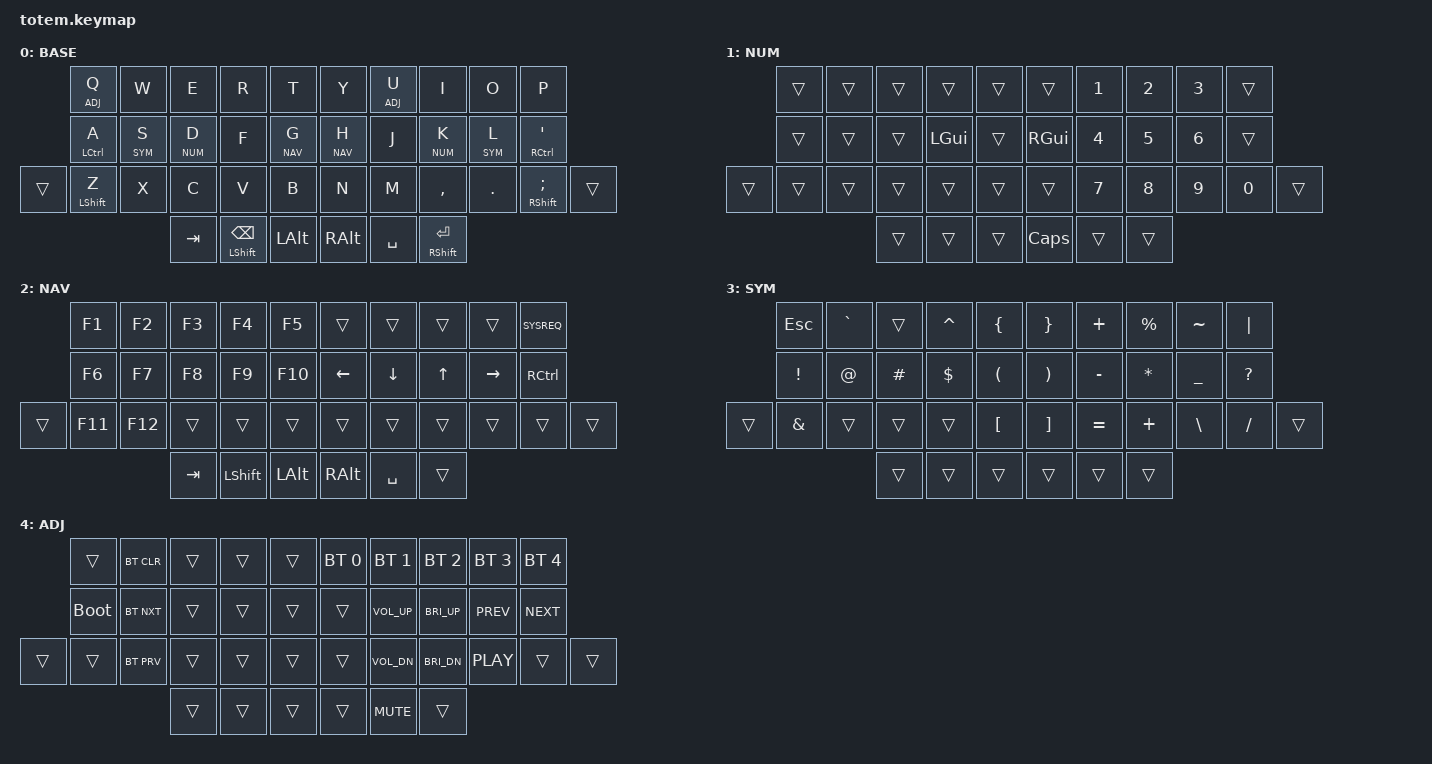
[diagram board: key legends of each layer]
//
//                                                        ▀▀▀▀▀     ▀▀▀▀▀          ▀▀█▀▀
//                                                        ▄▀▀▀▄  ▄  ▄▀▀▀▄  ▄  ▄▀▀▀▄  █  ▄▀▀▀▄
//                                                        █   █  █  █   █  █  █   █  █  █   █
//                                                         ▀▀▀   █   ▀▀▀   █   ▀▀▀   ▀   ▀▀▀
//                                                               █      ▄▄▄█▄▄▄    █   █
//                                                               ▀      █  █  █     █▄█
//                                                             ▀▀▀▀▀    █  █  █      ▀
//                                                                      ▀  ▀  ▀
//
// ▄▄▄▄▄▄▄▄▄▄▄▄▄▄▄▄▄▄▄▄▄▄▄▄▄▄▄▄▄▄▄▄▄▄▄▄▄▄▄▄▄▄▄▄▄▄▄▄▄▄▄▄▄▄▄▄▄▄▄▄▄▄▄▄▄▄▄▄▄▄▄▄▄▄▄▄▄▄▄▄▄▄▄▄▄▄▄▄▄▄▄▄▄▄▄▄▄▄▄▄▄▄▄▄▄▄▄▄▄▄▄▄▄▄▄▄▄▄▄▄▄▄▄▄▄▄▄▄▄▄▄▄▄▄▄▄▄▄▄▄▄▄▄▄▄▄▄▄▄

#include <behaviors.dtsi>
#include <dt-bindings/zmk/keys.h>
#include <dt-bindings/zmk/bt.h>
#include <dt-bindings/zmk/outputs.h>

#define BASE 0
#define NUM  1
#define NAV  2
#define SYM  3
#define ADJ  4

#define KEYS_L LT0 LT1 LT2 LT3 LT4 LM0 LM1 LM2 LM3 LM4 LB0 LB1 LB2 LB3 LB4 LB5 // left-hand keys
#define KEYS_R RT0 RT1 RT2 RT3 RT4 RM0 RM1 RM2 RM3 RM4 RB0 RB1 RB2 RB3 RB4 RB5 // right-hand keys
#define THUMBS LH2 LH1 LH0 RH0 RH1 RH2                                         // thumb keys

// &lt {
//   quick-tap-ms = <100>;
//   global-quick-tap;
//   flavor = "tap-preferred";
//   tapping-term-ms = <170>;
// };
// 
&mt {
  quick-tap-ms = <200>;
  global-quick-tap;
  flavor = "tap-preferred";
  tapping-term-ms = <170>;
};

/ {
    behaviors {
        lst: left_shift_tap {
            compatible = "zmk,behavior-hold-tap";
            #binding-cells = <2>;
            flavor = "hold-preferred";
            tapping-term-ms = <300>;
            quick-tap-ms = <250>;
            bindings = <&kp>, <&kp>;
            hold-trigger-key-positions = <5 6 7 8 9 15 16 17 18 19 26 27 28 29 30 35 36 37>;    // <---[[right-hand keys]]
            hold-trigger-on-release;
        };
        rst: right_shift_tap {
            compatible = "zmk,behavior-hold-tap";
            #binding-cells = <2>;
            flavor = "hold-preferred";
            tapping-term-ms = <300>;
            quick-tap-ms = <250>;
            bindings = <&kp>, <&kp>;
            hold-trigger-key-positions = <0 1 2 3 4 10 11 12 13 14 21 22 23 24 25 32 33 34>;    // <---[[left-hand keys]]
            hold-trigger-on-release;
        };
        lht: left_hold_tap {
            compatible = "zmk,behavior-hold-tap";
            #binding-cells = <2>;
            flavor = "balanced";
            tapping-term-ms = <300>;
            quick-tap-ms = <250>;
            require-prior-idle-ms = <125>;
            bindings = <&kp>, <&kp>;
            hold-trigger-key-positions = <5 6 7 8 9 15 16 17 18 19 26 27 28 29 30 35 36 37>;    // <---[[right-hand keys]]
            hold-trigger-on-release;
        };
        rht: right_hold_tap {
            compatible = "zmk,behavior-hold-tap";
            #binding-cells = <2>;
            flavor = "balanced";
            tapping-term-ms = <300>;
            quick-tap-ms = <250>;
            require-prior-idle-ms = <125>;
            bindings = <&kp>, <&kp>;
            hold-trigger-key-positions = <0 1 2 3 4 10 11 12 13 14 21 22 23 24 25 32 33 34>;    // <---[[left-hand keys]]
            hold-trigger-on-release;
        };
        llt: left_layer_tap {
            compatible = "zmk,behavior-hold-tap";
            #binding-cells = <2>;
            flavor = "balanced";
            tapping-term-ms = <300>;
            quick-tap-ms = <250>;
            require-prior-idle-ms = <125>;
            bindings = <&mo>, <&kp>;
            hold-trigger-key-positions = <5 6 7 8 9 15 16 17 18 19 26 27 28 29 30 35 36 37>;    // <---[[right-hand keys]]
            hold-trigger-on-release;
        };
        rlt: right_layer_tap {
            compatible = "zmk,behavior-hold-tap";
            #binding-cells = <2>;
            flavor = "balanced";
            tapping-term-ms = <300>;
            quick-tap-ms = <250>;
            require-prior-idle-ms = <125>;
            bindings = <&mo>, <&kp>;
            hold-trigger-key-positions = <0 1 2 3 4 10 11 12 13 14 21 22 23 24 25 32 33 34>;    // <---[[left-hand keys]]
        };
    };
    keymap {
        compatible = "zmk,keymap";
// ▄▄▄▄▄▄▄▄▄▄▄▄▄▄▄▄▄▄▄▄▄▄▄▄▄▄▄▄▄▄▄▄▄▄▄▄▄▄▄▄▄▄▄▄▄▄▄▄▄▄▄▄▄▄▄▄▄▄▄▄▄▄▄▄▄▄▄▄▄▄▄▄▄▄▄▄▄▄▄▄▄▄▄▄▄▄▄▄▄▄▄▄▄▄▄▄▄▄▄▄▄▄▄▄▄▄▄▄▄▄▄▄▄▄▄▄▄▄▄▄▄▄▄▄▄▄▄▄▄▄▄▄▄▄▄▄▄▄▄▄▄▄▄▄▄▄▄▄▄

                base_layer {
// ┏━━━━━━━━━━━━━━━━━━━━━━━━━━━━━━━━━━━━━━━┓
label= "BASE"                              ;
// ┗━━━━━━━━━━━━━━━━━━━━━━━━━━━━━━━━━━━━━━━┛
//             ┏━━━━━━━━━━━┳━━━━━━━━━━━┳━━━━━━━━━━━┳━━━━━━━━━━━┳━━━━━━━━━━━┓   ┏━━━━━━━━━━━┳━━━━━━━━━━━┳━━━━━━━━━━━┳━━━━━━━━━━━┳━━━━━━━━━━━┓
//             ┃0  Q (ADJ) ┃1     W    ┃2     E    ┃3    R     ┃4    T     ┃   ┃5     Y    ┃6  U (ADJ) ┃7     I    ┃8     O    ┃9     P    ┃
//             ┣━━━━━━━━━━━╋━━━━━━━━━━━╋━━━━━━━━━━━╋━━━━━━━━━━━╋━━━━━━━━━━━┫   ┣━━━━━━━━━━━╋━━━━━━━━━━━╋━━━━━━━━━━━╋━━━━━━━━━━━╋━━━━━━━━━━━┫
//             ┃10 A (CTRL)┃11 S (SYM) ┃12  D(NUM) ┃13    F    ┃14  G(NAV) ┃   ┃15  H(NAV) ┃16   J     ┃17 K (NUM) ┃18 L (SYM) ┃19 ' (CTRL)┃
// ┏━━━━━━━━━━━╋━━━━━━━━━━━╋━━━━━━━━━━━╋━━━━━━━━━━━╋━━━━━━━━━━━╋━━━━━━━━━━━┫   ┣━━━━━━━━━━━╋━━━━━━━━━━━╋━━━━━━━━━━━╋━━━━━━━━━━━╋━━━━━━━━━━━╋━━━━━━━━━━━┓
// ┃20         ┃21 Z(SHFT) ┃22    X    ┃23    C    ┃24    V    ┃25    B    ┃   ┃26    N    ┃27    M    ┃28    ,    ┃29    .    ┃30 ;(RSHFT)┃31         ┃
// ┗━━━━━━━━━━━┻━━━━━━━━━━━┻━━━━━━━━━━━╋━━━━━━━━━━━╋━━━━━━━━━━━╋━━━━━━━━━━━┫   ┣━━━━━━━━━━━╋━━━━━━━━━━━╋━━━━━━━━━━━╋━━━━━━━━━━━┻━━━━━━━━━━━┻━━━━━━━━━━━┛
//                                     ┃32   TAB   ┃33 BACKSHFT┃34  LALT   ┃   ┃35  RALT   ┃36  SPACE  ┃37 ENTERSH ┃
//                                     ┗━━━━━━━━━━━┻━━━━━━━━━━━┻━━━━━━━━━━━┛   ┗━━━━━━━━━━━┻━━━━━━━━━━━┻━━━━━━━━━━━┛
 bindings = <
// ╷           ╷           ╷           ╷           ╷           ╷           ╷   ╷           ╷           ╷           ╷           ╷           ╷           ╷

               &llt ADJ Q  &kp W       &kp E       &kp R       &kp T            &kp Y       &rlt ADJ U   &kp I       &kp O       &kp P
               &lht LCTRL A &llt SYM S &llt NUM D  &kp F       &llt NAV G       &rlt NAV H  &kp J        &rlt NUM K  &rlt SYM L  &rht RCTRL SQT
    &trans     &lht LSHFT Z &kp X       &kp C      &kp V       &kp B            &kp N       &kp M        &kp COMMA   &kp DOT    &rht RSHFT SEMI  &trans
                                       &kp TAB     &lst LSHFT BSPC &kp LALT     &kp RALT    &kp SPACE    &rst RSHFT RET
                        >;
                };

// ▄▄▄▄▄▄▄▄▄▄▄▄▄▄▄▄▄▄▄▄▄▄▄▄▄▄▄▄▄▄▄▄▄▄▄▄▄▄▄▄▄▄▄▄▄▄▄▄▄▄▄▄▄▄▄▄▄▄▄▄▄▄▄▄▄▄▄▄▄▄▄▄▄▄▄▄▄▄▄▄▄▄▄▄▄▄▄▄▄▄▄▄▄▄▄▄▄▄▄▄▄▄▄▄▄▄▄▄▄▄▄▄▄▄▄▄▄▄▄▄▄▄▄▄▄▄▄▄▄▄▄▄▄▄▄▄▄▄▄▄▄▄▄▄▄▄▄▄▄


                num_layer {
// ┏━━━━━━━━━━━━━━━━━━━━━━━━━━━━━━━━━━━━━━━┓
label= "NUM"                               ;
// ┗━━━━━━━━━━━━━━━━━━━━━━━━━━━━━━━━━━━━━━━┛
//             ┏━━━━━━━━━━━┳━━━━━━━━━━━┳━━━━━━━━━━━┳━━━━━━━━━━━┳━━━━━━━━━━━┓   ┏━━━━━━━━━━━┳━━━━━━━━━━━┳━━━━━━━━━━━┳━━━━━━━━━━━┳━━━━━━━━━━━┓
//             ┃           ┃           ┃           ┃           ┃           ┃   ┃           ┃     1     ┃     2     ┃     3     ┃           ┃
//             ┣━━━━━━━━━━━╋━━━━━━━━━━━╋━━━━━━━━━━━╋━━━━━━━━━━━╋━━━━━━━━━━━┫   ┣━━━━━━━━━━━╋━━━━━━━━━━━╋━━━━━━━━━━━╋━━━━━━━━━━━╋━━━━━━━━━━━┫
//             ┃           ┃           ┃           ┃    LGUI   ┃           ┃   ┃   RGUI    ┃     4     ┃     5     ┃     6     ┃           ┃
// ┏━━━━━━━━━━━╋━━━━━━━━━━━╋━━━━━━━━━━━╋━━━━━━━━━━━╋━━━━━━━━━━━╋━━━━━━━━━━━┫   ┣━━━━━━━━━━━╋━━━━━━━━━━━╋━━━━━━━━━━━╋━━━━━━━━━━━╋━━━━━━━━━━━╋━━━━━━━━━━━┓
// ┃           ┃           ┃           ┃           ┃           ┃           ┃   ┃           ┃     7     ┃     8     ┃     9     ┃     0     ┃           ┃
// ┗━━━━━━━━━━━┻━━━━━━━━━━━┻━━━━━━━━━━━╋━━━━━━━━━━━╋━━━━━━━━━━━╋━━━━━━━━━━━┫   ┣━━━━━━━━━━━╋━━━━━━━━━━━╋━━━━━━━━━━━╋━━━━━━━━━━━┻━━━━━━━━━━━┻━━━━━━━━━━━┛
//                                     ┃           ┃           ┃           ┃   ┃   CAPS    ┃           ┃           ┃
//                                     ┗━━━━━━━━━━━┻━━━━━━━━━━━┻━━━━━━━━━━━┛   ┗━━━━━━━━━━━┻━━━━━━━━━━━┻━━━━━━━━━━━┛
 bindings = <
// ╷           ╷           ╷           ╷           ╷           ╷           ╷   ╷           ╷           ╷           ╷           ╷           ╷           ╷

                &trans      &trans      &trans      &trans     &trans          &trans      &kp N1      &kp N2      &kp N3      &trans 
                &trans      &trans      &trans      &kp LGUI   &trans          &kp RGUI    &kp N4      &kp N5      &kp N6      &trans
    &trans      &trans      &trans      &trans      &trans     &trans          &trans      &kp N7      &kp N8      &kp N9      &kp N0         &trans
                                        &trans      &trans     &trans          &kp CAPS    &trans      &trans
                       >;
                };

// ▄▄▄▄▄▄▄▄▄▄▄▄▄▄▄▄▄▄▄▄▄▄▄▄▄▄▄▄▄▄▄▄▄▄▄▄▄▄▄▄▄▄▄▄▄▄▄▄▄▄▄▄▄▄▄▄▄▄▄▄▄▄▄▄▄▄▄▄▄▄▄▄▄▄▄▄▄▄▄▄▄▄▄▄▄▄▄▄▄▄▄▄▄▄▄▄▄▄▄▄▄▄▄▄▄▄▄▄▄▄▄▄▄▄▄▄▄▄▄▄▄▄▄▄▄▄▄▄▄▄▄▄▄▄▄▄▄▄▄▄▄▄▄▄▄▄▄▄▄


                nav_layer {
// ┏━━━━━━━━━━━━━━━━━━━━━━━━━━━━━━━━━━━━━━━┓
label= "NAV"                               ;
// ┗━━━━━━━━━━━━━━━━━━━━━━━━━━━━━━━━━━━━━━━┛
//             ┏━━━━━━━━━━━┳━━━━━━━━━━━┳━━━━━━━━━━━┳━━━━━━━━━━━┳━━━━━━━━━━━┓   ┏━━━━━━━━━━━┳━━━━━━━━━━━┳━━━━━━━━━━━┳━━━━━━━━━━━┳━━━━━━━━━━━┓
//             ┃     F1    ┃     F2    ┃     F3    ┃     F4    ┃     F5    ┃   ┃           ┃           ┃           ┃           ┃   SYSREQ  ┃
//             ┣━━━━━━━━━━━╋━━━━━━━━━━━╋━━━━━━━━━━━╋━━━━━━━━━━━╋━━━━━━━━━━━┫   ┣━━━━━━━━━━━╋━━━━━━━━━━━╋━━━━━━━━━━━╋━━━━━━━━━━━╋━━━━━━━━━━━┫
//             ┃     F6    ┃     F7    ┃     F8    ┃     F9    ┃     F10   ┃   ┃    LEFT   ┃    DOWN   ┃     UP    ┃   RIGHT   ┃    CTRL   ┃
// ┏━━━━━━━━━━━╋━━━━━━━━━━━╋━━━━━━━━━━━╋━━━━━━━━━━━╋━━━━━━━━━━━╋━━━━━━━━━━━┫   ┣━━━━━━━━━━━╋━━━━━━━━━━━╋━━━━━━━━━━━╋━━━━━━━━━━━╋━━━━━━━━━━━╋━━━━━━━━━━━┓
// ┃           ┃     F11   ┃     F12   ┃           ┃           ┃           ┃   ┃           ┃           ┃           ┃           ┃           ┃           ┃
// ┗━━━━━━━━━━━┻━━━━━━━━━━━┻━━━━━━━━━━━╋━━━━━━━━━━━╋━━━━━━━━━━━╋━━━━━━━━━━━┫   ┣━━━━━━━━━━━╋━━━━━━━━━━━╋━━━━━━━━━━━╋━━━━━━━━━━━┻━━━━━━━━━━━┻━━━━━━━━━━━┛
//                                     ┃    TAB    ┃    SHFT   ┃    ALT    ┃   ┃    ALT    ┃   SPACE   ┃           ┃
//                                     ┗━━━━━━━━━━━┻━━━━━━━━━━━┻━━━━━━━━━━━┛   ┗━━━━━━━━━━━┻━━━━━━━━━━━┻━━━━━━━━━━━┛
 bindings = <
// ╷           ╷           ╷           ╷           ╷           ╷           ╷   ╷           ╷           ╷           ╷           ╷           ╷           ╷

                &kp F1     &kp F2      &kp F3      &kp F4      &kp F5          &trans      &trans      &trans      &trans      &kp SYSREQ
                &kp F6     &kp F7      &kp F8      &kp F9      &kp F10         &kp LEFT    &kp DOWN    &kp UP      &kp RIGHT   &kp RCTRL
    &trans      &kp F11    &kp F12     &trans      &trans      &trans          &trans      &trans      &trans      &trans      &trans      &trans
                                       &kp TAB     &kp LSHFT   &kp LALT        &kp RALT    &kp SPACE   &trans
                       >;
                };

// ▄▄▄▄▄▄▄▄▄▄▄▄▄▄▄▄▄▄▄▄▄▄▄▄▄▄▄▄▄▄▄▄▄▄▄▄▄▄▄▄▄▄▄▄▄▄▄▄▄▄▄▄▄▄▄▄▄▄▄▄▄▄▄▄▄▄▄▄▄▄▄▄▄▄▄▄▄▄▄▄▄▄▄▄▄▄▄▄▄▄▄▄▄▄▄▄▄▄▄▄▄▄▄▄▄▄▄▄▄▄▄▄▄▄▄▄▄▄▄▄▄▄▄▄▄▄▄▄▄▄▄▄▄▄▄▄▄▄▄▄▄▄▄▄▄▄▄▄▄



                sym_layer {
// ┏━━━━━━━━━━━━━━━━━━━━━━━━━━━━━━━━━━━━━━━┓
label= "SYM"                               ;
// ┗━━━━━━━━━━━━━━━━━━━━━━━━━━━━━━━━━━━━━━━┛
//             ┏━━━━━━━━━━━┳━━━━━━━━━━━┳━━━━━━━━━━━┳━━━━━━━━━━━┳━━━━━━━━━━━┓   ┏━━━━━━━━━━━┳━━━━━━━━━━━┳━━━━━━━━━━━┳━━━━━━━━━━━┳━━━━━━━━━━━┓
//             ┃     ESC   ┃     `     ┃           ┃     ^     ┃     {     ┃   ┃     }     ┃     +     ┃     %     ┃     ~     ┃     |     ┃
//             ┣━━━━━━━━━━━╋━━━━━━━━━━━╋━━━━━━━━━━━╋━━━━━━━━━━━╋━━━━━━━━━━━┫   ┣━━━━━━━━━━━╋━━━━━━━━━━━╋━━━━━━━━━━━╋━━━━━━━━━━━╋━━━━━━━━━━━┫
//             ┃     !     ┃     @     ┃     #     ┃     $     ┃     (     ┃   ┃     )     ┃     -     ┃     *     ┃     _     ┃     ?     ┃
// ┏━━━━━━━━━━━╋━━━━━━━━━━━╋━━━━━━━━━━━╋━━━━━━━━━━━╋━━━━━━━━━━━╋━━━━━━━━━━━┫   ┣━━━━━━━━━━━╋━━━━━━━━━━━╋━━━━━━━━━━━╋━━━━━━━━━━━╋━━━━━━━━━━━╋━━━━━━━━━━━┓
// ┃           ┃     &     ┃           ┃           ┃           ┃     [     ┃   ┃     ]     ┃     =     ┃           ┃     \     ┃     /     ┃           ┃
// ┗━━━━━━━━━━━┻━━━━━━━━━━━┻━━━━━━━━━━━╋━━━━━━━━━━━╋━━━━━━━━━━━╋━━━━━━━━━━━┫   ┣━━━━━━━━━━━╋━━━━━━━━━━━╋━━━━━━━━━━━╋━━━━━━━━━━━┻━━━━━━━━━━━┻━━━━━━━━━━━┛
//                                     ┃           ┃           ┃           ┃   ┃           ┃           ┃           ┃
//                                     ┗━━━━━━━━━━━┻━━━━━━━━━━━┻━━━━━━━━━━━┛   ┗━━━━━━━━━━━┻━━━━━━━━━━━┻━━━━━━━━━━━┛
 bindings = <
// ╷           ╷           ╷           ╷           ╷           ╷           ╷   ╷           ╷           ╷           ╷           ╷           ╷           ╷

                &kp ESC     &kp GRAVE   &trans      &kp CARET  &kp LBRC        &kp RBRC   &kp PLUS    &kp PRCNT    &kp TILDE    &kp PIPE
                &kp EXCL    &kp AT      &kp HASH    &kp DLLR   &kp LPAR        &kp RPAR   &kp MINUS   &kp ASTRK    &kp UNDER    &kp QMARK 
    &trans      &kp AMPS    &trans      &trans      &trans     &kp LBKT        &kp RBKT   &kp EQUAL   &kp PLUS     &kp BSLH     &kp SLASH     &trans
                                        &trans      &trans     &trans          &trans     &trans      &trans
                        >;
                };

// ▄▄▄▄▄▄▄▄▄▄▄▄▄▄▄▄▄▄▄▄▄▄▄▄▄▄▄▄▄▄▄▄▄▄▄▄▄▄▄▄▄▄▄▄▄▄▄▄▄▄▄▄▄▄▄▄▄▄▄▄▄▄▄▄▄▄▄▄▄▄▄▄▄▄▄▄▄▄▄▄▄▄▄▄▄▄▄▄▄▄▄▄▄▄▄▄▄▄▄▄▄▄▄▄▄▄▄▄▄▄▄▄▄▄▄▄▄▄▄▄▄▄▄▄▄▄▄▄▄▄▄▄▄▄▄▄▄▄▄▄▄▄▄▄▄▄▄▄▄


                adjust_layer {
// ┏━━━━━━━━━━━━━━━━━━━━━━━━━━━━━━━━━━━━━━━┓
label= "ADJ"                               ;
// ┗━━━━━━━━━━━━━━━━━━━━━━━━━━━━━━━━━━━━━━━┛
//             ┏━━━━━━━━━━━┳━━━━━━━━━━━┳━━━━━━━━━━━┳━━━━━━━━━━━┳━━━━━━━━━━━┓   ┏━━━━━━━━━━━┳━━━━━━━━━━━┳━━━━━━━━━━━┳━━━━━━━━━━━┳━━━━━━━━━━━┓
//             ┃           ┃ BT CLEAR  ┃           ┃           ┃           ┃   ┃   BT 0    ┃    BT 1   ┃    BT 2   ┃   BT 3    ┃   BT 4    ┃
//             ┣━━━━━━━━━━━╋━━━━━━━━━━━╋━━━━━━━━━━━╋━━━━━━━━━━━╋━━━━━━━━━━━┫   ┣━━━━━━━━━━━╋━━━━━━━━━━━╋━━━━━━━━━━━╋━━━━━━━━━━━╋━━━━━━━━━━━┫
//             ┃ BOOTLOAD  ┃ BT NEXT   ┃           ┃           ┃           ┃   ┃           ┃   VOL+    ┃  SCREEN+  ┃   PREV    ┃    NEXT   ┃
// ┏━━━━━━━━━━━╋━━━━━━━━━━━╋━━━━━━━━━━━╋━━━━━━━━━━━╋━━━━━━━━━━━╋━━━━━━━━━━━┫   ┣━━━━━━━━━━━╋━━━━━━━━━━━╋━━━━━━━━━━━╋━━━━━━━━━━━╋━━━━━━━━━━━╋━━━━━━━━━━━┓
// ┃           ┃           ┃ BT PREV   ┃           ┃           ┃           ┃   ┃           ┃   VOL-    ┃  SCREEN-  ┃   PLAY    ┃           ┃           ┃
// ┗━━━━━━━━━━━┻━━━━━━━━━━━┻━━━━━━━━━━━╋━━━━━━━━━━━╋━━━━━━━━━━━╋━━━━━━━━━━━┫   ┣━━━━━━━━━━━╋━━━━━━━━━━━╋━━━━━━━━━━━╋━━━━━━━━━━━┻━━━━━━━━━━━┻━━━━━━━━━━━┛
//                                     ┃           ┃           ┃           ┃   ┃           ┃   MUTE    ┃           ┃
//                                     ┗━━━━━━━━━━━┻━━━━━━━━━━━┻━━━━━━━━━━━┛   ┗━━━━━━━━━━━┻━━━━━━━━━━━┻━━━━━━━━━━━┛
 bindings = <
// ╷           ╷           ╷           ╷           ╷           ╷           ╷   ╷           ╷           ╷           ╷           ╷           ╷           ╷

                &trans      &bt BT_CLR  &trans      &trans      &trans         &bt BT_SEL 0 &bt BT_SEL 1 &bt BT_SEL 2  &bt BT_SEL 3  &bt BT_SEL 4
                &bootloader &bt BT_NXT  &trans      &trans      &trans          &trans      &kp C_VOL_UP &kp C_BRI_UP &kp C_PREV &kp C_NEXT
    &trans      &trans      &bt BT_PRV  &trans      &trans      &trans          &trans      &kp C_VOL_DN &kp C_BRI_DN &kp C_PLAY &trans      &trans
                                        &trans      &trans      &trans          &trans      &kp C_MUTE   &trans
                        >;
                };
        };
};
